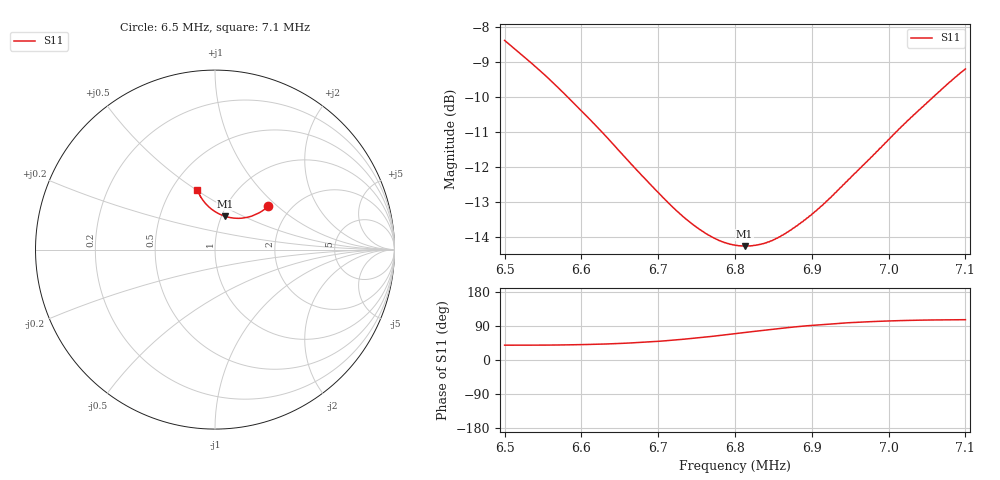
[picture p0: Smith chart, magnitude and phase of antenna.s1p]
! Calibrated high-resolution NanoVNA antenna measurement
# Hz S RI R 50
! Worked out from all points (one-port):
!   1601 points, 6.5 MHz to 7.1 MHz, reference 50 ohm
!   lowest |S11| = -14.3 dB at 6.812 MHz (marker M1), VSWR 1.48, Z = 52.3 + j20.1 ohm
!   |S11| at or under -10 dB: 6.582 MHz to 7.058 MHz (475.3 kHz wide, 6.97 % of centre)
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6500000  0.2954 0.2407
6503000  0.2937 0.239
6543500  0.2689 0.2193
6575000  0.2476 0.2059
6616625  0.2174 0.1915
6650000  0.1912 0.1827
6689000  0.1597 0.1762
6711500  0.1412 0.1746
6725000  0.1296 0.1743
6745250  0.1129 0.1749
6765875  0.0962 0.1765
6783875  0.0813 0.179
6800000  0.0681 0.1821
6812375  0.0583 0.1848
6828125  0.0463 0.1889
6842750  0.0354 0.1933
6857000  0.0247 0.1982
6875000  0.0117 0.205
6893375  -0.00078 0.2125
6911375  -0.0124 0.2204
6926000  -0.0217 0.2274
6950000  -0.0361 0.2397
6995750  -0.0597 0.2655
7025000  -0.073 0.2835
7057250  -0.0849 0.3043
7078250  -0.092 0.3181
7095500  -0.0966 0.33
7100000  -0.0978 0.3329
